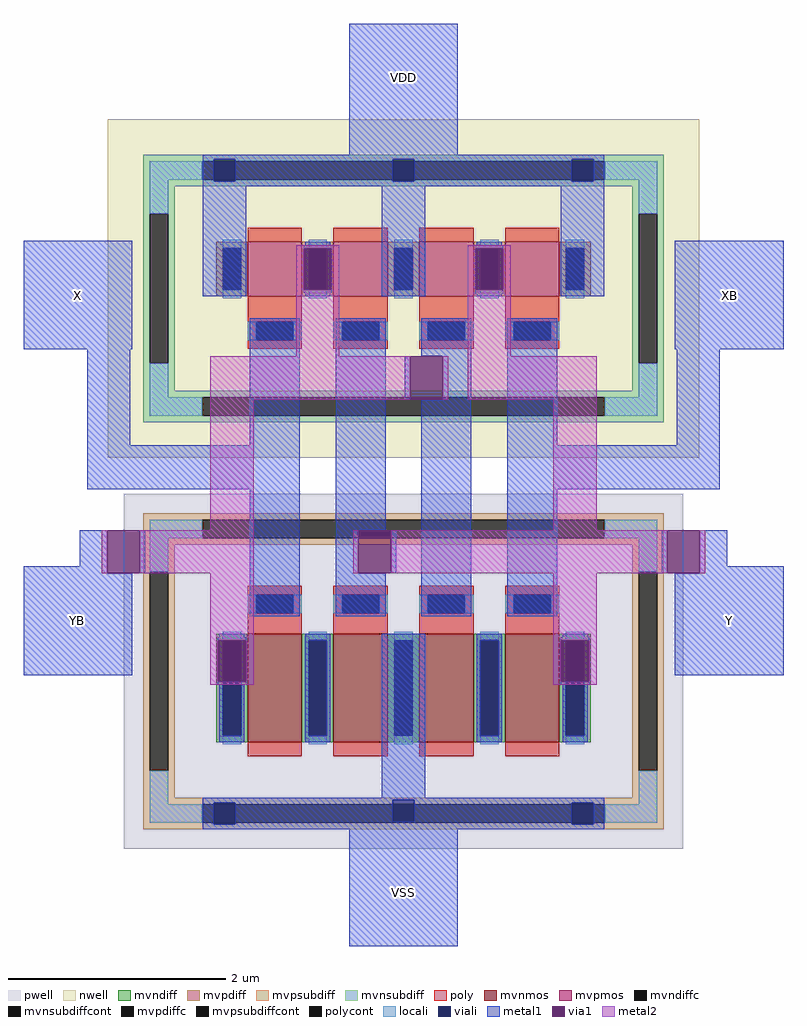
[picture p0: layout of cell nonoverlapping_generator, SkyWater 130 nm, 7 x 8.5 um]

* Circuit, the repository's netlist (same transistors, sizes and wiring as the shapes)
** sch_path: /home/ttuser/babys-first-adc/xschem/clock_3v3/nonoverlapping_generator.sch
.subckt nonoverlapping_generator VDD X XB VSS Y YB
*.PININFO VSS:B VDD:B X:I XB:I YB:O Y:O
XM1 YB X VDD VDD sky130_fd_pr__pfet_g5v0d10v5 L=0.5 W=0.5 nf=1 m=1
XM2 net1 X YB VSS sky130_fd_pr__nfet_g5v0d10v5 L=0.5 W=1 nf=1 m=1
XM3 YB Y VDD VDD sky130_fd_pr__pfet_g5v0d10v5 L=0.5 W=0.5 nf=1 m=1
XM4 VSS Y net1 VSS sky130_fd_pr__nfet_g5v0d10v5 L=0.5 W=1 nf=1 m=1
XM5 Y XB VDD VDD sky130_fd_pr__pfet_g5v0d10v5 L=0.5 W=0.5 nf=1 m=1
XM6 net2 XB Y VSS sky130_fd_pr__nfet_g5v0d10v5 L=0.5 W=1 nf=1 m=1
XM7 Y YB VDD VDD sky130_fd_pr__pfet_g5v0d10v5 L=0.5 W=0.5 nf=1 m=1
XM8 VSS YB net2 VSS sky130_fd_pr__nfet_g5v0d10v5 L=0.5 W=1 nf=1 m=1
.ends
.end

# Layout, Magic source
magic
tech sky130A
magscale 1 2
<< viali >>
rect 5150 -490 5190 -450
rect 5480 -490 5520 -450
rect 5810 -490 5850 -450
rect 5150 -1675 5190 -1635
rect 5480 -1670 5520 -1630
rect 5810 -1675 5850 -1635
<< metal1 >>
rect 5400 -442 5600 -200
rect 5130 -450 5870 -442
rect 5130 -490 5150 -450
rect 5190 -490 5480 -450
rect 5520 -490 5810 -450
rect 5850 -490 5870 -450
rect 5130 -500 5870 -490
rect 4800 -800 5000 -600
rect 5130 -702 5210 -500
rect 5316 -614 5368 -608
rect 5316 -696 5368 -690
rect 5460 -702 5540 -500
rect 5632 -614 5684 -608
rect 5632 -698 5684 -690
rect 5790 -702 5870 -500
rect 4917 -977 4997 -800
rect 5217 -977 5309 -743
rect 4917 -1058 5309 -977
rect 4904 -1200 4954 -1133
rect 4800 -1213 4954 -1200
rect 5014 -1213 5024 -1133
rect 4800 -1400 5000 -1213
rect 5217 -1292 5309 -1058
rect 5375 -1133 5467 -743
rect 5533 -813 5625 -743
rect 5502 -893 5512 -813
rect 5572 -893 5625 -813
rect 5375 -1213 5417 -1133
rect 5477 -1213 5487 -1133
rect 5375 -1292 5467 -1213
rect 5533 -1292 5625 -893
rect 5691 -977 5783 -743
rect 6000 -800 6200 -600
rect 6003 -977 6083 -800
rect 5691 -1058 6083 -977
rect 5691 -1292 5783 -1058
rect 5976 -1213 5986 -1133
rect 6046 -1200 6096 -1133
rect 6046 -1213 6200 -1200
rect 5158 -1336 5210 -1330
rect 5158 -1418 5210 -1412
rect 5460 -1626 5540 -1324
rect 5790 -1336 5842 -1330
rect 6000 -1400 6200 -1213
rect 5790 -1418 5842 -1412
rect 5130 -1630 5870 -1626
rect 5130 -1635 5480 -1630
rect 5130 -1675 5150 -1635
rect 5190 -1670 5480 -1635
rect 5520 -1635 5870 -1630
rect 5520 -1670 5810 -1635
rect 5190 -1675 5810 -1670
rect 5850 -1675 5870 -1635
rect 5130 -1684 5870 -1675
rect 5400 -1900 5600 -1684
<< via1 >>
rect 5316 -690 5368 -614
rect 5632 -690 5684 -614
rect 4954 -1213 5014 -1133
rect 5512 -893 5572 -813
rect 5417 -1213 5477 -1133
rect 5986 -1213 6046 -1133
rect 5158 -1412 5210 -1336
rect 5790 -1412 5842 -1336
<< metal2 >>
rect 5302 -614 5382 -608
rect 5302 -690 5316 -614
rect 5368 -690 5382 -614
rect 5302 -813 5382 -690
rect 5618 -614 5698 -608
rect 5618 -690 5632 -614
rect 5684 -690 5698 -614
rect 5618 -813 5698 -690
rect 5144 -893 5512 -813
rect 5572 -893 5582 -813
rect 5618 -893 5856 -813
rect 5144 -1133 5224 -893
rect 5776 -1133 5856 -893
rect 4944 -1213 4954 -1133
rect 5014 -1213 5224 -1133
rect 5407 -1213 5417 -1133
rect 5477 -1213 5986 -1133
rect 6046 -1213 6056 -1133
rect 5144 -1336 5224 -1213
rect 5144 -1412 5158 -1336
rect 5210 -1412 5224 -1336
rect 5144 -1418 5224 -1412
rect 5776 -1336 5856 -1213
rect 5776 -1412 5790 -1336
rect 5842 -1412 5856 -1336
rect 5776 -1418 5856 -1412
use sky130_fd_pr__nfet_g5v0d10v5_Z6V9X8  sky130_fd_pr__nfet_g5v0d10v5_Z6V9X8_0
transform 1 0 5500 0 1 -1393
box -515 -327 515 327
use sky130_fd_pr__pfet_g5v0d10v5_HAP8US  sky130_fd_pr__pfet_g5v0d10v5_HAP8US_0
transform 1 0 5500 0 1 -688
box -545 -312 545 312
<< labels >>
flabel metal1 6000 -1400 6200 -1200 0 FreeSans 256 0 0 0 Y
port 5 nsew
flabel metal1 4800 -1400 5000 -1200 0 FreeSans 256 0 0 0 YB
port 4 nsew
flabel metal1 4800 -800 5000 -600 0 FreeSans 256 0 0 0 X
port 2 nsew
flabel metal1 6000 -800 6200 -600 0 FreeSans 256 0 0 0 XB
port 3 nsew
flabel metal1 5400 -400 5600 -200 0 FreeSans 256 0 0 0 VDD
port 1 nsew
flabel metal1 5400 -1900 5600 -1700 0 FreeSans 256 0 0 0 VSS
port 0 nsew
<< end >>

# cell sky130_fd_pr__nfet_g5v0d10v5_Z6V9X8: kit device sky130_fd_pr__nfet_g5v0d10v5, w 1 l 0.50 m 1 nf 4 diffcov 100 polycov 100 guard 1 glc 1 grc 1 gtc 1 gbc 1 tbcov 100 rlcov 100 topc 1 botc 0 poverlap 0 doverlap 1 lmin 0.50 wmin 0.42 compatible {sky130_fd_pr__nfet_01v8 sky130_fd_pr__nfet_01v8_lvt sky130_fd_bs_flash__special_sonosfet_star sky130_fd_pr__nfet_g5v0d10v5 sky130_fd_pr__nfet_05v0_nvt sky130_fd_pr__nfet_03v3_nvt} full_metal 1 viasrc 100 viadrn 100 viagate 100 viagb 0 viagr 0 viagl 0 viagt 0

# cell sky130_fd_pr__pfet_g5v0d10v5_HAP8US: kit device sky130_fd_pr__pfet_g5v0d10v5, w 0.5 l 0.50 m 1 nf 4 diffcov 100 polycov 100 guard 1 glc 1 grc 1 gtc 1 gbc 1 tbcov 100 rlcov 100 topc 0 botc 1 poverlap 0 doverlap 1 lmin 0.50 wmin 0.42 compatible {sky130_fd_pr__pfet_01v8 sky130_fd_pr__pfet_01v8_lvt sky130_fd_pr__pfet_01v8_hvt sky130_fd_pr__pfet_g5v0d10v5} full_metal 1 viasrc 100 viadrn 100 viagate 100 viagb 0 viagr 0 viagl 0 viagt 0
